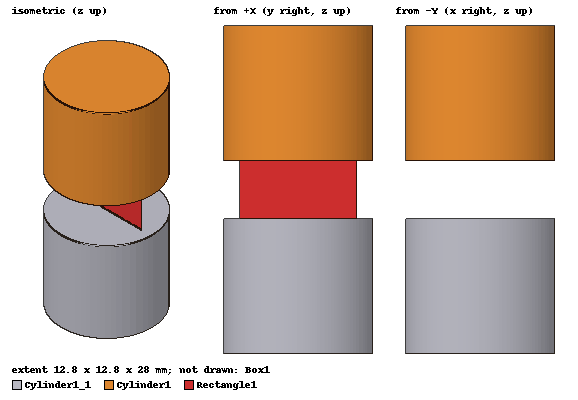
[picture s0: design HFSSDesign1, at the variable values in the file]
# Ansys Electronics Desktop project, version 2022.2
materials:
  vacuum: permittivity=1
  pec: conductivity=1e+30
  air: permittivity=1.0006 permeability=1.0000004
  copper: permeability=0.999991 conductivity=58000000

design HFSSDesign1 (HFSS, DrivenModal, model units mm)
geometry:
  Cylinder1 [copper] = cylinder(axis=Z, base_centre=(0mm, 0mm, 2.5mm), radius=6.4mm, height=11.5mm)
  Cylinder1_1 [pec] = Cylinder1.duplicate_around_axis(axis=Y, angle=180deg, total=2)
  Rectangle1 = rectangle(corner=(0mm, -5mm, 2.5mm), y_size=10mm, z_size=-5mm)
  Box1 [air] = box(corner=(-20mm, -20mm, -20mm), size=(40mm, 40mm, 40mm))
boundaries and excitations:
  Rad1: Radiation Objects=Box1
  1: Lumped Port Objects=Rectangle1 Modes{Mode1{IntLine{(0, 0, -2.5) -> (0, 0, 2.5)} CharImp=Zpi RenormImp=50ohm}} Impedance=50ohm
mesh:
  initial mesh: GlobalSurfApproximation{CurvedSurfaceApproxChoice=UseSlider SliderMeshSettings=1}
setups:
  Setup1: HfssDriven Frequency=5GHz MaxDeltaS=0.02 MaximumPasses=15 MinimumPasses=1 MinimumConvergedPasses=1 PercentRefinement=30 BasisOrder=1 PortAccuracy=2 DrivenSolverType="Direct Solver"
    sweep Sweep: 2.5GHz to 7.5GHz, 201 points; Type=Fast SaveFields
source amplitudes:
  1:1: 1W 0deg
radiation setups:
  Infinite Sphere1: Infinite Sphere Theta=0deg..180deg step 2deg Phi=-180deg..180deg step 2deg
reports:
  S Parameter Plot 1: dB(S(1,1)) vs Freq on Setup1 : Sweep; markers m1 at 5.225GHz, MY1 at y=-12.8087
